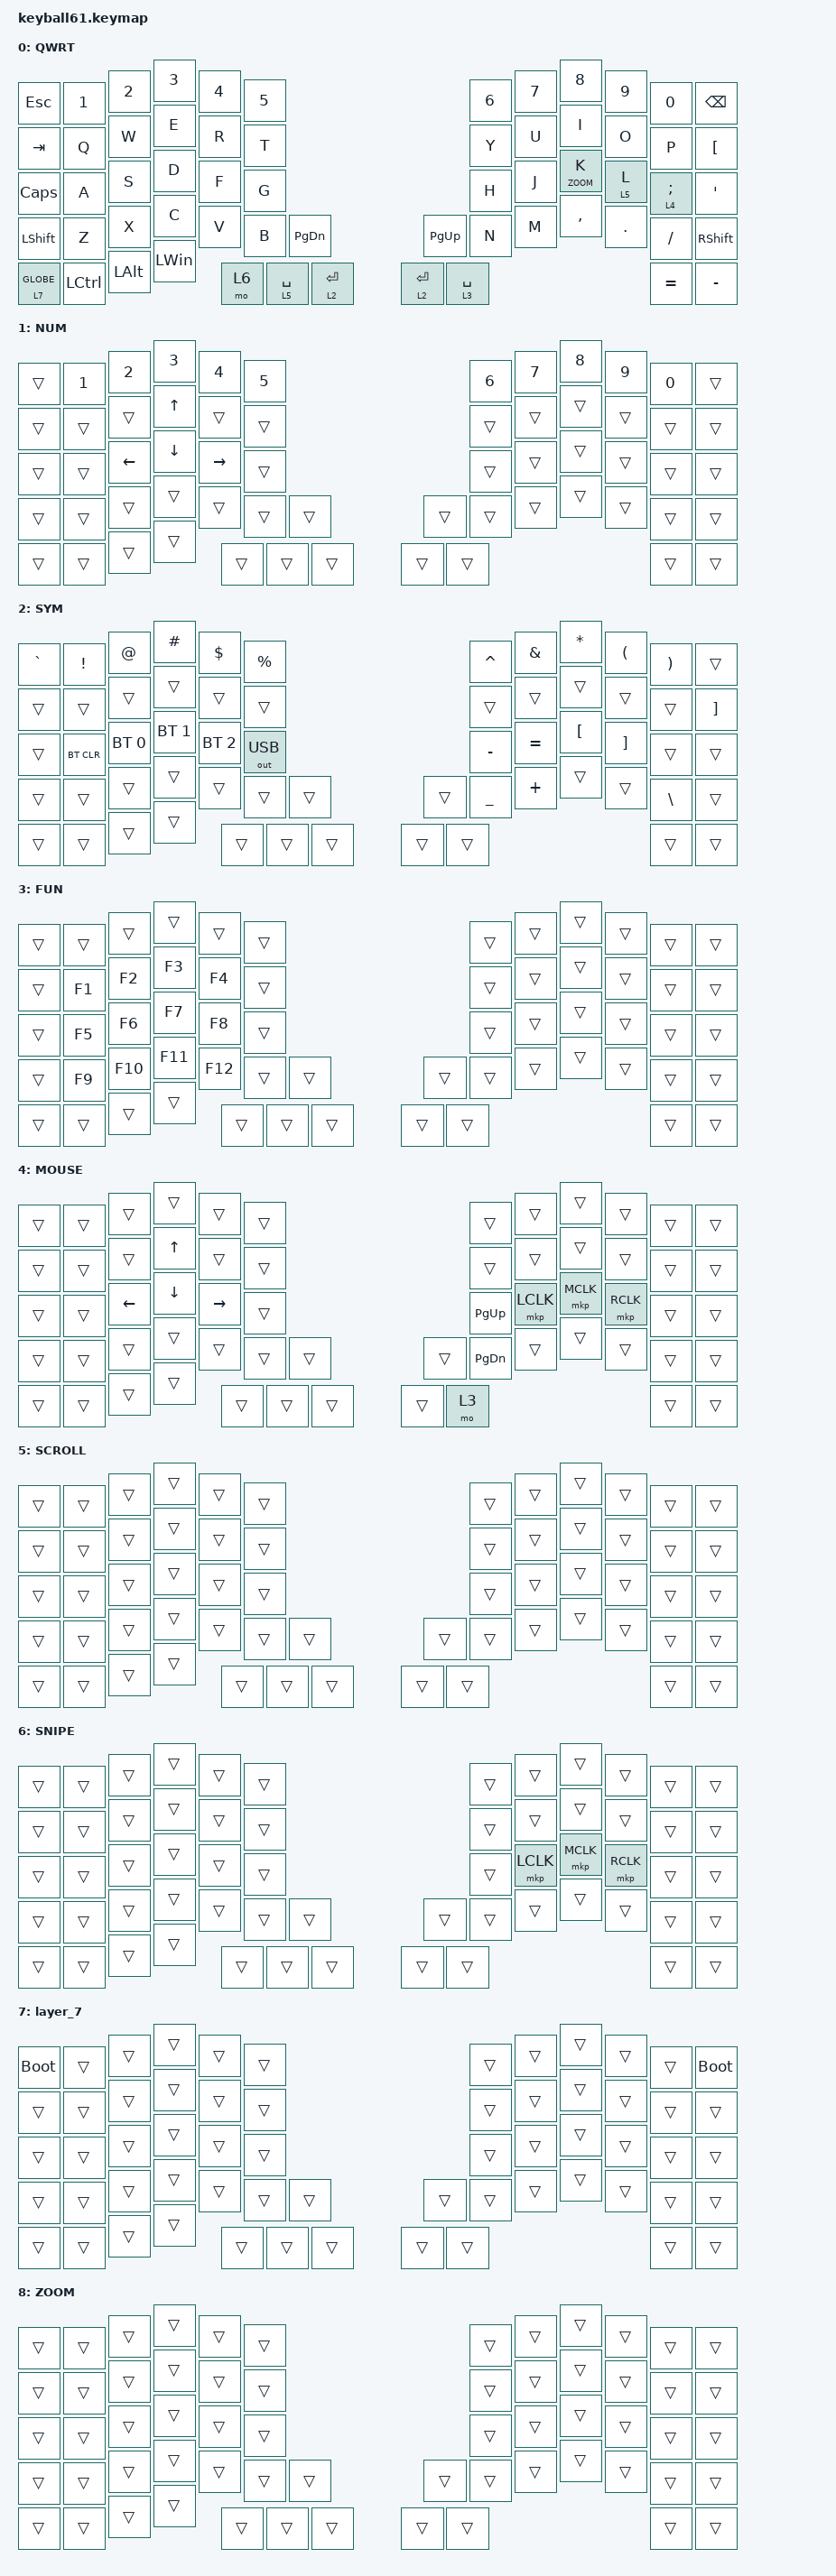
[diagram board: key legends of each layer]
#define DEFAULT 0
#define NUM     1
#define SYM     2
#define FUN     3
#define MOUSE   4
#define SCROLL  5
#define SNIPE   6
#define BOOT    7
#define ZOOM    8

#include <behaviors/mouse_keys.dtsi>
#include <dt-bindings/zmk/mouse.h>
#include <behaviors.dtsi>
#include <dt-bindings/zmk/bt.h>
#include <dt-bindings/zmk/keys.h>
#include <dt-bindings/zmk/outputs.h>
#include <dt-bindings/zmk/pointing.h>

#define ZOOM_SCRL_IN  MOVE_Y(120)
#define ZOOM_SCRL_OUT MOVE_Y(-120)

&nice_view_spi { cs-gpios = <&pro_micro 1 GPIO_ACTIVE_HIGH>; };

&lt {
    tapping-term-ms = <240>;
    flavor = "balanced";
    quick-tap-ms = <150>;
};

&mt {
    tapping-term-ms = <200>;
    flavor = "tap-preferred";
    quick-tap-ms = <150>;
};

/ {
    macros {
        zoom_in: zoom_in {
            compatible = "zmk,behavior-macro";
            #binding-cells = <0>;
            wait-ms = <20>;
            tap-ms = <45>;
            bindings
                = <&macro_press &kp LCTRL>
                , <&macro_tap &msc ZOOM_SCRL_IN>
                , <&macro_release &kp LCTRL>
                ;
        };

        zoom_out: zoom_out {
            compatible = "zmk,behavior-macro";
            #binding-cells = <0>;
            wait-ms = <20>;
            tap-ms = <45>;
            bindings
                = <&macro_press &kp LCTRL>
                , <&macro_tap &msc ZOOM_SCRL_OUT>
                , <&macro_release &kp LCTRL>
                ;
        };
    };
};

/ {
    keymap {
        compatible = "zmk,keymap";

        default_layer {
            label = "QWRT";
            bindings = <
&kp ESC         &kp N1     &kp N2        &kp N3        &kp N4  &kp N5                                   &kp N6       &kp N7  &kp N8     &kp N9   &kp N0           &kp BSPC
&kp TAB         &kp Q      &kp W         &kp E         &kp R   &kp T                                    &kp Y        &kp U   &kp I      &kp O    &kp P            &kp LEFT_BRACKET
&kp CAPS        &kp A      &kp S         &kp D         &kp F   &kp G                                    &kp H        &kp J   &lt ZOOM K  &lt 5 L  &lt 4 SEMICOLON  &kp SQT
&kp LEFT_SHIFT  &kp Z      &kp X         &kp C         &kp V   &kp B        &kp PAGE_DOWN  &kp PAGE_UP  &kp N        &kp M   &kp COMMA  &kp DOT  &kp FSLH         &kp RIGHT_SHIFT
&lt 7 GLOBE     &kp LCTRL  &kp LEFT_ALT  &kp LEFT_WIN  &mo 6   &lt 5 SPACE  &lt 2 ENTER    &lt 2 ENTER  &lt 3 SPACE                              &kp EQUAL        &kp MINUS
            >;
        };

        number_layer {
            bindings = <
&trans  &kp N1  &kp N2          &kp N3        &kp N4     &kp N5                  &kp N6  &kp N7  &kp N8  &kp N9  &kp N0  &trans
&trans  &trans  &trans          &kp UP_ARROW  &trans     &trans                  &trans  &trans  &trans  &trans  &trans  &trans
&trans  &trans  &kp LEFT_ARROW  &kp DOWN      &kp RIGHT  &trans                  &trans  &trans  &trans  &trans  &trans  &trans
&trans  &trans  &trans          &trans        &trans     &trans  &trans  &trans  &trans  &trans  &trans  &trans  &trans  &trans
&trans  &trans  &trans          &trans        &trans     &trans  &trans  &trans  &trans                          &trans  &trans
            >;

            label = "NUM";
        };

        symbol_layer {
            label = "SYM";
            bindings = <
&kp GRAVE  &kp EXCLAMATION  &kp AT_SIGN   &kp HASH      &kp DOLLAR    &kp PERCENT                  &kp CARET       &kp AMPERSAND  &kp ASTERISK      &kp LEFT_PARENTHESIS  &kp RIGHT_PARENTHESIS  &trans
&trans     &trans           &trans        &trans        &trans        &trans                       &trans          &trans         &trans            &trans                &trans                 &kp RIGHT_BRACKET
&trans     &bt BT_CLR       &bt BT_SEL 0  &bt BT_SEL 1  &bt BT_SEL 2  &out OUT_USB                 &kp MINUS       &kp EQUAL      &kp LEFT_BRACKET  &kp RIGHT_BRACKET     &trans                 &trans
&trans     &trans           &trans        &trans        &trans        &trans       &trans  &trans  &kp UNDERSCORE  &kp PLUS       &trans            &trans                &kp BACKSLASH          &trans
&trans     &trans           &trans        &trans        &trans        &trans       &trans  &trans  &trans                                                                 &trans                 &trans
            >;
        };

        function_layer {
            label = "FUN";
            bindings = <
&trans  &trans  &trans   &trans   &trans   &trans                  &trans  &trans  &trans  &trans  &trans  &trans
&trans  &kp F1  &kp F2   &kp F3   &kp F4   &trans                  &trans  &trans  &trans  &trans  &trans  &trans
&trans  &kp F5  &kp F6   &kp F7   &kp F8   &trans                  &trans  &trans  &trans  &trans  &trans  &trans
&trans  &kp F9  &kp F10  &kp F11  &kp F12  &trans  &trans  &trans  &trans  &trans  &trans  &trans  &trans  &trans
&trans  &trans  &trans   &trans   &trans   &trans  &trans  &trans  &trans                          &trans  &trans
            >;
        };

        mouse_layer {
            label = "MOUSE";
            bindings = <
&trans  &trans  &trans          &trans        &trans     &trans                  &trans         &trans     &trans     &trans     &trans  &trans
&trans  &trans  &trans          &kp UP_ARROW  &trans     &trans                  &trans         &trans     &trans     &trans     &trans  &trans
&trans  &trans  &kp LEFT_ARROW  &kp DOWN      &kp RIGHT  &trans                  &kp PAGE_UP    &mkp LCLK  &mkp MCLK  &mkp RCLK  &trans  &trans
&trans  &trans  &trans          &trans        &trans     &trans  &trans  &trans  &kp PAGE_DOWN  &trans     &trans     &trans     &trans  &trans
&trans  &trans  &trans          &trans        &trans     &trans  &trans  &trans  &mo 3                                           &trans  &trans
            >;
        };

        scroll_layer {
            label = "SCROLL";
            bindings = <
&trans  &trans  &trans  &trans  &trans  &trans                  &trans  &trans  &trans  &trans  &trans  &trans
&trans  &trans  &trans  &trans  &trans  &trans                  &trans  &trans  &trans  &trans  &trans  &trans
&trans  &trans  &trans  &trans  &trans  &trans                  &trans  &trans  &trans  &trans  &trans  &trans
&trans  &trans  &trans  &trans  &trans  &trans  &trans  &trans  &trans  &trans  &trans  &trans  &trans  &trans
&trans  &trans  &trans  &trans  &trans  &trans  &trans  &trans  &trans                          &trans  &trans
            >;
        };

        snipe_layer {
            label = "SNIPE";
            bindings = <
&trans  &trans  &trans  &trans  &trans  &trans                  &trans  &trans     &trans     &trans     &trans  &trans
&trans  &trans  &trans  &trans  &trans  &trans                  &trans  &trans     &trans     &trans     &trans  &trans
&trans  &trans  &trans  &trans  &trans  &trans                  &trans  &mkp LCLK  &mkp MCLK  &mkp RCLK  &trans  &trans
&trans  &trans  &trans  &trans  &trans  &trans  &trans  &trans  &trans  &trans     &trans     &trans     &trans  &trans
&trans  &trans  &trans  &trans  &trans  &trans  &trans  &trans  &trans                                   &trans  &trans
            >;
        };

        layer_7 {
            bindings = <
&bootloader  &trans  &trans  &trans  &trans  &trans                  &trans  &trans  &trans  &trans  &trans  &bootloader
&trans       &trans  &trans  &trans  &trans  &trans                  &trans  &trans  &trans  &trans  &trans  &trans
&trans       &trans  &trans  &trans  &trans  &trans                  &trans  &trans  &trans  &trans  &trans  &trans
&trans       &trans  &trans  &trans  &trans  &trans  &trans  &trans  &trans  &trans  &trans  &trans  &trans  &trans
&trans       &trans  &trans  &trans  &trans  &trans  &trans  &trans  &trans                          &trans  &trans
            >;
        };

        zoom_layer {
            label = "ZOOM";
            bindings = <
&trans  &trans  &trans  &trans  &trans  &trans                  &trans  &trans  &trans  &trans  &trans  &trans
&trans  &trans  &trans  &trans  &trans  &trans                  &trans  &trans  &trans  &trans  &trans  &trans
&trans  &trans  &trans  &trans  &trans  &trans                  &trans  &trans  &trans  &trans  &trans  &trans
&trans  &trans  &trans  &trans  &trans  &trans  &trans  &trans  &trans  &trans  &trans  &trans  &trans  &trans
&trans  &trans  &trans  &trans  &trans  &trans  &trans  &trans  &trans                          &trans  &trans
            >;
        };
    };
};
